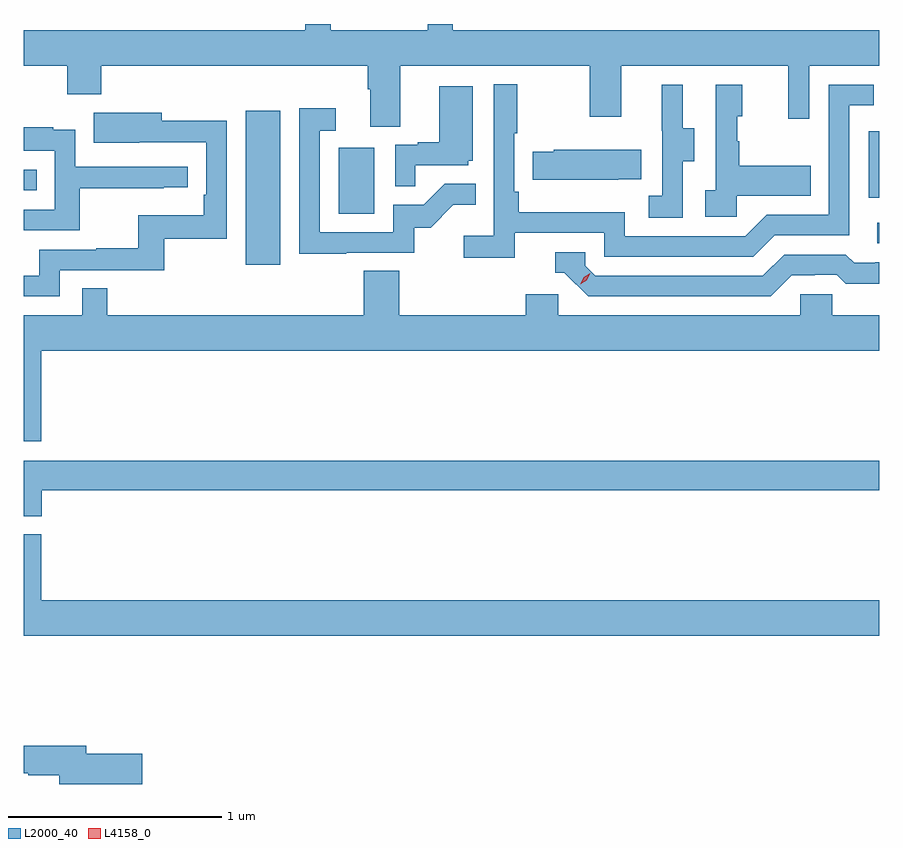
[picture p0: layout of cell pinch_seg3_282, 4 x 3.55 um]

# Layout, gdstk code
import gdstk
lib = gdstk.Library(unit=1e-6, precision=1e-09)
def R(c, l, rs):  # rectangles x0, y0, x1, y1
    for r in rs: c.add(gdstk.rectangle(r[:2], r[2:], *l))
def P(c, l, *ps):  # polygons
    for p in ps: c.add(gdstk.Polygon(p, *l))
L2000_40 = (2000, 40)
L4158_0 = (4158, 0)

pinch_seg3_282 = lib.new_cell('pinch_seg3_282')
R(pinch_seg3_282, L2000_40, [(947.435,709.308,947.596,710.029), (950.385,709.41,950.396,709.506), (947.87,709.548,948.034,709.855), (950.346,709.623,950.396,709.932), (946.396,709.656,946.457,709.752)])
P(pinch_seg3_282, L2000_40, [(948.157,710.24),(949.042,710.24),(949.042,710.001),(949.189,710.001),(949.189,710.24),(949.97,710.24),(949.97,709.992),(950.067,709.992),(950.067,710.24),(950.396,710.24),(950.396,710.404),(948.401,710.404),(948.401,710.434),(948.284,710.434),(948.284,710.404),(947.831,710.404),(947.831,710.434),(947.713,710.434),(947.713,710.404),(946.396,710.404),(946.396,710.24),(946.6,710.24),(946.6,710.105),(946.76,710.105),(946.76,710.24),(948.005,710.24),(948.005,710.128),(948.017,710.128),(948.017,709.954),(948.157,709.954)],
  [(948.692,709.458),(949.11,709.458),(949.11,709.347),(949.807,709.347),(949.906,709.446),(950.256,709.446),(950.256,710.055),(950.369,710.055),(950.369,710.151),(950.16,710.151),(950.16,709.542),(949.869,709.542),(949.77,709.443),(949.206,709.443),(949.206,709.555),(948.71,709.555),(948.71,709.651),(948.69,709.651),(948.69,709.924),(948.703,709.924),(948.703,710.152),(948.594,710.152),(948.594,709.444),(948.453,709.444),(948.453,709.342),(948.692,709.342)],
  [(949.728,709.631),(950.075,709.631),(950.075,709.771),(949.741,709.771),(949.741,709.886),(949.731,709.886),(949.731,710.004),(949.756,710.004),(949.756,710.149),(949.632,710.149),(949.632,709.658),(949.581,709.658),(949.581,709.533),(949.728,709.533)],
  [(949.476,709.792),(949.531,709.792),(949.531,709.947),(949.477,709.947),(949.477,710.149),(949.379,710.149),(949.379,709.935),(949.38,709.935),(949.38,709.631),(949.317,709.631),(949.317,709.528),(949.476,709.528)],
  [(948.227,709.773),(948.474,709.773),(948.474,709.794),(948.496,709.794),(948.496,710.143),(948.338,710.143),(948.338,709.882),(948.239,709.882),(948.239,709.869),(948.132,709.869),(948.132,709.675),(948.227,709.675)],
  [(947.903,709.365),(948.222,709.365),(948.222,709.482),(948.298,709.482),(948.405,709.589),(948.509,709.589),(948.509,709.688),(948.365,709.688),(948.267,709.59),(948.123,709.59),(948.123,709.461),(947.781,709.461),(947.781,709.935),(947.854,709.935),(947.854,710.041),(947.685,710.041),(947.685,709.36),(947.903,709.36)],
  [(946.566,709.284),(947.053,709.284),(947.053,709.431),(947.346,709.431),(947.346,709.982),(947.041,709.982),(947.041,710.02),(946.723,710.02),(946.723,709.88),(946.937,709.88),(946.937,709.881),(947.25,709.881),(947.25,709.636),(947.237,709.636),(947.237,709.54),(946.932,709.54),(946.932,709.385),(946.735,709.385),(946.735,709.38),(946.47,709.38),(946.47,709.257),(946.396,709.257),(946.396,709.161),(946.566,709.161)],
  [(946.658,709.666),(947.051,709.666),(947.051,709.671),(947.164,709.671),(947.164,709.767),(946.638,709.767),(946.638,709.939),(946.535,709.939),(946.535,709.951),(946.396,709.951),(946.396,709.842),(946.542,709.842),(946.542,709.566),(946.396,709.566),(946.396,709.47),(946.658,709.47)],
  [(949.175,709.709),(949.283,709.709),(949.283,709.846),(948.873,709.846),(948.873,709.836),(948.775,709.836),(948.775,709.706),(949.175,709.706)],
  [(949.987,709.26),(950.094,709.26),(950.094,709.263),(950.197,709.263),(950.239,709.221),(950.396,709.221),(950.396,709.32),(950.377,709.32),(950.377,709.317),(950.278,709.317),(950.239,709.356),(949.95,709.356),(949.851,709.257),(949.068,709.257),(949.02,709.305),(949.02,709.368),(948.881,709.368),(948.881,709.272),(948.924,709.272),(949.035,709.161),(949.888,709.161)],
  [(946.478,708.908),(950.396,708.908),(950.396,709.072),(950.175,709.072),(950.175,709.17),(950.025,709.17),(950.025,709.072),(948.894,709.072),(948.894,709.17),(948.743,709.17),(948.743,709.072),(948.152,709.072),(948.152,709.28),(947.987,709.28),(947.987,709.072),(946.787,709.072),(946.787,709.199),(946.671,709.199),(946.671,709.072),(946.396,709.072),(946.396,708.483),(946.478,708.483)],
  [(946.48,708.256),(950.396,708.256),(950.396,708.392),(946.396,708.392),(946.396,708.134),(946.48,708.134)],
  [(950.396,707.74),(946.478,707.74),(946.478,708.049),(946.396,708.049),(946.396,707.576),(950.396,707.576)],
  [(946.951,707.024),(946.69,707.024),(946.69,707.06),(946.396,707.06),(946.396,706.932),(946.419,706.932),(946.419,706.924),(946.562,706.924),(946.562,706.882),(946.951,706.882)])
P(pinch_seg3_282, L4158_0, [(948.998,709.218),(948.998,709.218),(949.014,709.251),(949.045,709.27),(949.045,709.27),(949.045,709.27),(949.029,709.237),(948.998,709.218)])

lib.write_gds('pinch_seg3_282.gds')
